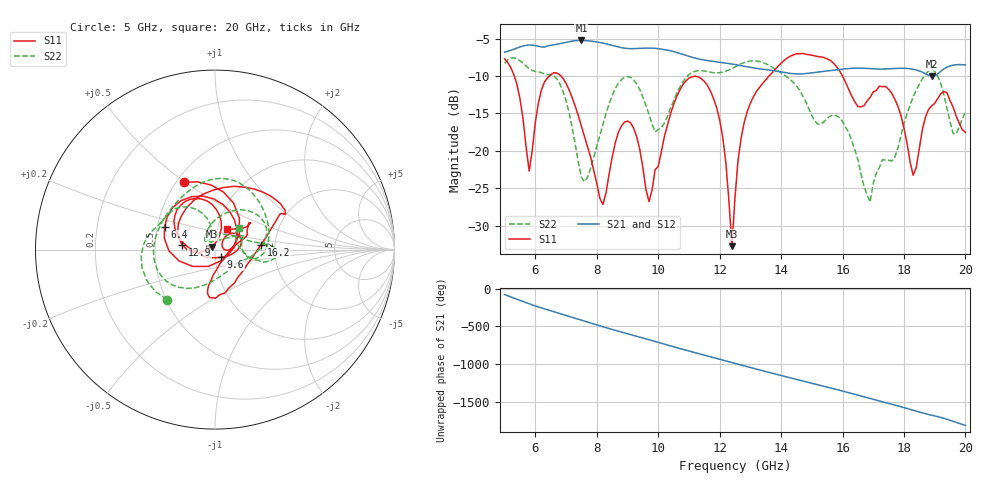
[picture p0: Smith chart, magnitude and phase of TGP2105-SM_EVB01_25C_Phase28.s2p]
! Date: Wednesday, June 05, 2013  1:51 PM
! Filename: C:\Data\Mike_Arnold\TGP2105-SM\Over_Temp\TGP2105-SM_EVB01_25C_Phase28.s2p
! Comments:
!^VDC(V):5.000
!^VDC(mA):0.126
!%Freq(GHz),S11(dB),S11(ang),S21(dB),S21(ang),S12(dB),S12(ang),S22(dB),S22(ang)
# GHz  S  DB  R  50
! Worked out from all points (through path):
!   151 points, 5 GHz to 20 GHz, reference 50 ohm
!   highest |S21| = -5.24 dB at 7.5 GHz (marker M1); lowest = -10.0 dB at 18.9 GHz (marker M2)
!   lowest |S11| = -32.8 dB at 12.4 GHz (marker M3), VSWR 1.05, Z = 48.3 + j1.51 ohm
!   |S11| at or under -10 dB: 5.316 GHz to 6.459 GHz (1.143 GHz wide, 19.4 % of centre); 6.834 GHz to 13.6 GHz (6.771 GHz wide, 66.3 % of centre); 16 GHz to end of sweep
!   |S22| runs from -26.9 to -7.5 dB; largest |S21 - S12| = 0.0023
!   S11 on the Smith chart (normalised r, x): 5 GHz: 0.55, +0.50; 6.4 GHz: 0.55, +0.15; 9.6 GHz: 1.07, -0.09; 12.9 GHz: 0.69, +0.04; 16.2 GHz: 1.68, +0.10; 20 GHz: 1.11, +0.26
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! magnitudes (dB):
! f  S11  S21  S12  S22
! 5 GHz  -7.7  -6.8  -6.8  -8.3
! 5.8 GHz  -22.7  -5.9  -5.9  -9.0
! 6.4 GHz  -10.2  -6.0  -6.0  -9.8
! 7.5 GHz  -16.7  -5.2  -5.3  -23.5
! 8.2 GHz  -27.2  -5.6  -5.6  -16.5
! 9 GHz  -16.0  -6.3  -6.3  -10.1
! 9.6 GHz  -25.2  -6.3  -6.3  -13.9
! 10 GHz  -22.1  -6.3  -6.4  -17.2
! 10.7 GHz  -11.9  -7.0  -7.0  -11.5
! 11.5 GHz  -10.7  -7.9  -7.9  -9.3
! 12.1 GHz  -18.2  -8.2  -8.2  -9.5
! 12.4 GHz  -32.8  -8.4  -8.4  -9.0
! 12.5 GHz  -26.2  -8.5  -8.5  -8.8
! 12.9 GHz  -14.7  -8.8  -8.8  -8.1
! 15 GHz  -7.2  -9.6  -9.6  -15.3
! 16.2 GHz  -11.8  -9.0  -9.0  -17.5
! 16.9 GHz  -12.8  -9.0  -9.0  -26.9
! 17.5 GHz  -11.8  -9.0  -9.1  -21.3
! 18.3 GHz  -23.3  -9.1  -9.1  -12.8
! 18.9 GHz  -14.0  -10.0  -10.1  -9.1
! 19.6 GHz  -14.1  -8.5  -8.6  -17.7
! 20 GHz  -17.5  -8.5  -8.6  -14.8
